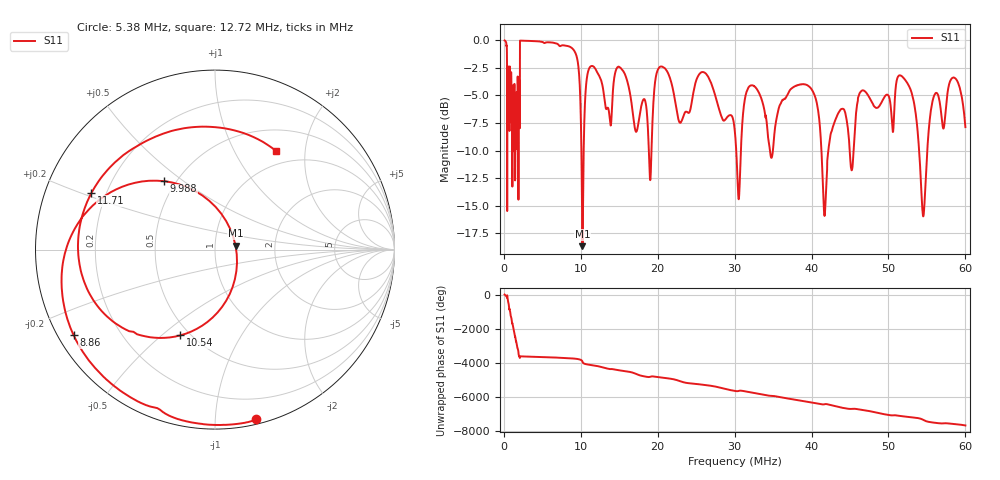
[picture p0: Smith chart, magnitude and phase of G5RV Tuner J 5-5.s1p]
# Hz S RI R 50
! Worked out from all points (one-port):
!   3030 points, 100 kHz to 60 MHz, reference 50 ohm
!   lowest |S11| = -18.7 dB at 10.22 MHz (marker M1), VSWR 1.26, Z = 62.9 + j2.77 ohm
!   |S11| at or under -10 dB: 30.21 MHz to 30.82 MHz (606.1 kHz wide, 1.99 % of centre); 41.29 MHz to 42.18 MHz (896.6 kHz wide, 2.15 % of centre); 53.98 MHz to 55.04 MHz (1.059 MHz wide, 1.94 % of centre)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
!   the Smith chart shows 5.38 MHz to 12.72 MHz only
!   S11 on the Smith chart (normalised r, x): 5.38 MHz: 0.03, -1.27; 8.86 MHz: 0.04, -0.28; 9.988 MHz: 0.43, +0.43; 10.54 MHz: 0.45, -0.58; 11.71 MHz: 0.14, +0.21; 12.72 MHz: 0.79, +1.49
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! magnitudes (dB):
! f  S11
! 100 kHz  0.0
! 1.306 MHz  -5.0
! 2.394 MHz  0.0
! 5.38 MHz  -0.2
! 7.595 MHz  -0.5
! 8.86 MHz  -0.7
! 9.988 MHz  -6.5
! 10.22 MHz  -18.7
! 10.54 MHz  -5.8
! 11.71 MHz  -2.4
! 12.72 MHz  -3.8
! 15.09 MHz  -2.5
! 18.99 MHz  -12.4
! 20.17 MHz  -2.5
! 22.56 MHz  -6.8
! 26.02 MHz  -2.9
! 30.06 MHz  -8.5
! 34.79 MHz  -10.7
! 37.55 MHz  -4.3
! 40.5 MHz  -5.2
! 41.69 MHz  -15.9
! 43.59 MHz  -6.5
! 45.03 MHz  -10.7
! 46.41 MHz  -4.6
! 52.52 MHz  -4.0
! 54.5 MHz  -16.0
! 56 MHz  -4.9
! 60 MHz  -7.9
